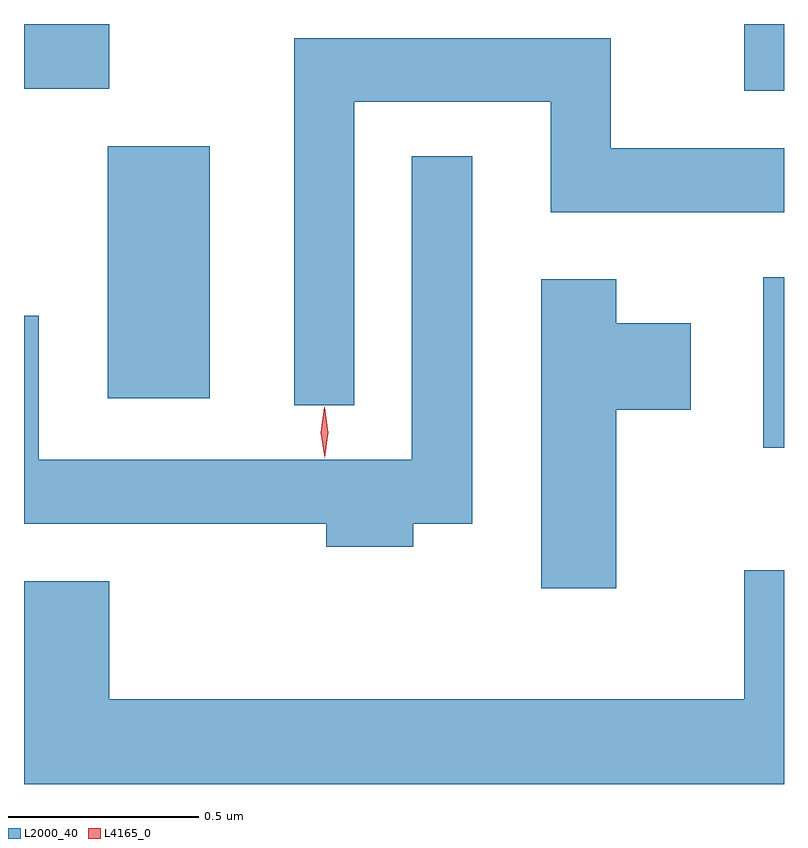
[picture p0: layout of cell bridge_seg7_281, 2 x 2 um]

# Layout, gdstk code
import gdstk
lib = gdstk.Library(unit=1e-6, precision=1e-09)
def R(c, l, rs):  # rectangles x0, y0, x1, y1
    for r in rs: c.add(gdstk.rectangle(r[:2], r[2:], *l))
def P(c, l, *ps):  # polygons
    for p in ps: c.add(gdstk.Polygon(p, *l))
L2000_40 = (2000, 40)
L4165_0 = (4165, 0)

bridge_seg7_281 = lib.new_cell('bridge_seg7_281')
R(bridge_seg7_281, L2000_40, [(1410.241,1788.506,1410.295,1788.954), (1408.516,1788.636,1408.784,1789.299), (1410.191,1789.446,1410.295,1789.621), (1408.295,1789.451,1408.519,1789.621)])
P(bridge_seg7_281, L2000_40, [(1409.164,1789.416),(1409.681,1789.416),(1409.681,1789.126),(1410.295,1789.126),(1410.295,1789.294),(1409.839,1789.294),(1409.839,1789.584),(1409.006,1789.584),(1409.006,1788.618),(1409.164,1788.618)],
  [(1409.319,1788.306),(1409.474,1788.306),(1409.474,1789.273),(1409.316,1789.273),(1409.316,1788.474),(1408.334,1788.474),(1408.334,1788.853),(1408.295,1788.853),(1408.295,1788.306),(1409.091,1788.306),(1409.091,1788.246),(1409.319,1788.246)],
  [(1409.854,1788.606),(1410.049,1788.606),(1410.049,1788.834),(1409.854,1788.834),(1409.854,1788.949),(1409.656,1788.949),(1409.656,1788.136),(1409.854,1788.136)],
  [(1410.295,1788.184),(1410.191,1788.184),(1410.191,1787.844),(1408.519,1787.844),(1408.519,1788.154),(1408.295,1788.154),(1408.295,1787.621),(1410.295,1787.621)])
P(bridge_seg7_281, L4165_0, [(1409.086,1788.48),(1409.086,1788.48),(1409.076,1788.546),(1409.085,1788.612),(1409.086,1788.613),(1409.086,1788.612),(1409.096,1788.546),(1409.086,1788.48)])

lib.write_gds('bridge_seg7_281.gds')
